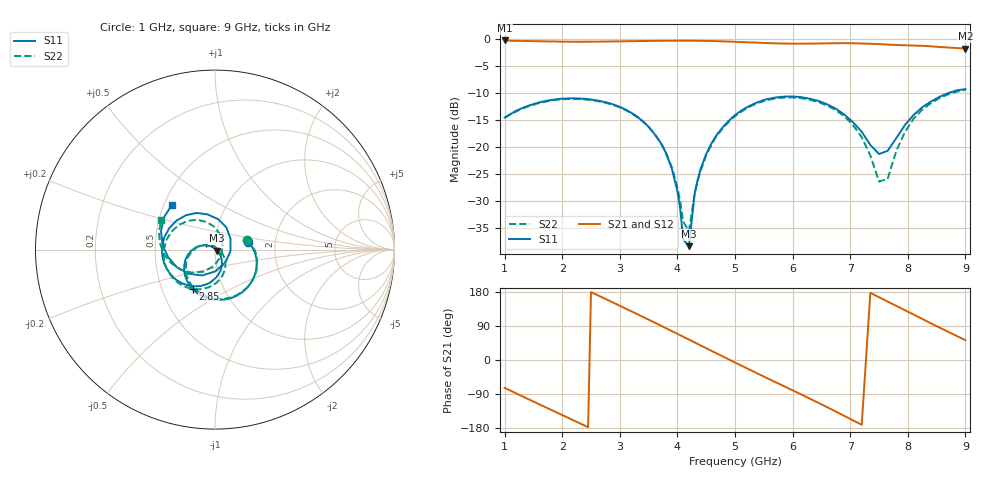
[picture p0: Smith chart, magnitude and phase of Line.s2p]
! Created on 9/7/2020 4:07:50 PM
! Agilent Nonlinear Vector Network Analyzer (NVNA) Version 02.04.05
! S-Parameter data
! freq S11 S21 S12 S22
# Hz S RI R 50
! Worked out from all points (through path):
!   101 points, 1 GHz to 9 GHz, reference 50 ohm
!   highest |S21| = -0.19 dB at 1 GHz (marker M1); lowest = -1.7 dB at 9 GHz (marker M2)
!   group delay of S21, straight-line fit = 206 ps
!   lowest |S11| = -38.4 dB at 4.2 GHz (marker M3), VSWR 1.02, Z = 51.1 - j0.526 ohm
!   |S11| at or under -10 dB: start of sweep to 8.689 GHz
!   |S22| runs from -35.6 to -9.4 dB; largest |S21 - S12| = 0.0099
!   S11 on the Smith chart (normalised r, x): 1 GHz: 1.45, +0.12; 2.85 GHz: 0.71, -0.34; 9 GHz: 0.55, +0.31
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1e9  0.1841 0.0413  0.276 -0.9383  0.2762 -0.9434  0.1784 0.0544
1.6e9  0.2254 -0.1301  -0.4343 -0.8583  -0.4372 -0.8614  0.232 -0.11
2.35e9  0.0326 -0.2798  -0.9378 -0.1632  -0.9436 -0.1619  0.056 -0.2729
2.85e9  -0.1237 -0.2209  -0.8607 0.4196  -0.864 0.4241  -0.1036 -0.2273
3.3e9  -0.1711 -0.0878  -0.4999 0.8257  -0.5006 0.8311  -0.1629 -0.0991
3.7e9  -0.1114 0.00861  -0.0262 0.9708  -0.0241 0.9759  -0.112 0.00399
3.9e9  -0.0593 0.024  0.2253 0.946  0.2288 0.95  -0.0604 0.0263
4e9  -0.0333 0.0206  0.3474 0.909  0.3514 0.9125  -0.0336 0.0258
4.1e9  -0.00882 0.0107  0.4629 0.8557  0.4678 0.8591  -0.00729 0.0191
4.2e9  0.0109 -0.00515  0.5712 0.7875  0.5774 0.7903  0.0158 0.00537
4.3e9  0.0267 -0.026  0.6701 0.7046  0.6762 0.7061  0.0345 -0.0135
4.4e9  0.036 -0.0505  0.7561 0.6087  0.762 0.6092  0.0482 -0.0356
4.65e9  0.03 -0.1188  0.9077 0.3274  0.9126 0.3262  0.0561 -0.1062
5e9  -0.0461 -0.193  0.9441 -0.1086  0.9474 -0.1123  -0.00374 -0.1938
5.8e9  -0.284 -0.0738  0.3802 -0.8337  0.3783 -0.839  -0.2573 -0.1288
6.45e9  -0.2143 0.1618  -0.3612 -0.8427  -0.366 -0.8445  -0.2411 0.1015
7.05e9  0.0183 0.1693  -0.8623 -0.3251  -0.866 -0.3228  -0.045 0.1535
7.5e9  0.0861 -0.0089  -0.8765 0.2245  -0.8781 0.2289  0.0435 0.0204
7.65e9  0.0572 -0.0728  -0.8063 0.3906  -0.8072 0.3954  0.0308 -0.0404
7.8e9  0.00165 -0.1213  -0.7068 0.5375  -0.706 0.5422  -0.00592 -0.092
8.4e9  -0.2617 -0.0416  -0.1029 0.857  -0.0987 0.8592  -0.2443 -0.0753
9e9  -0.239 0.2508  0.5004 0.6533  0.5039 0.652  -0.2983 0.1645
